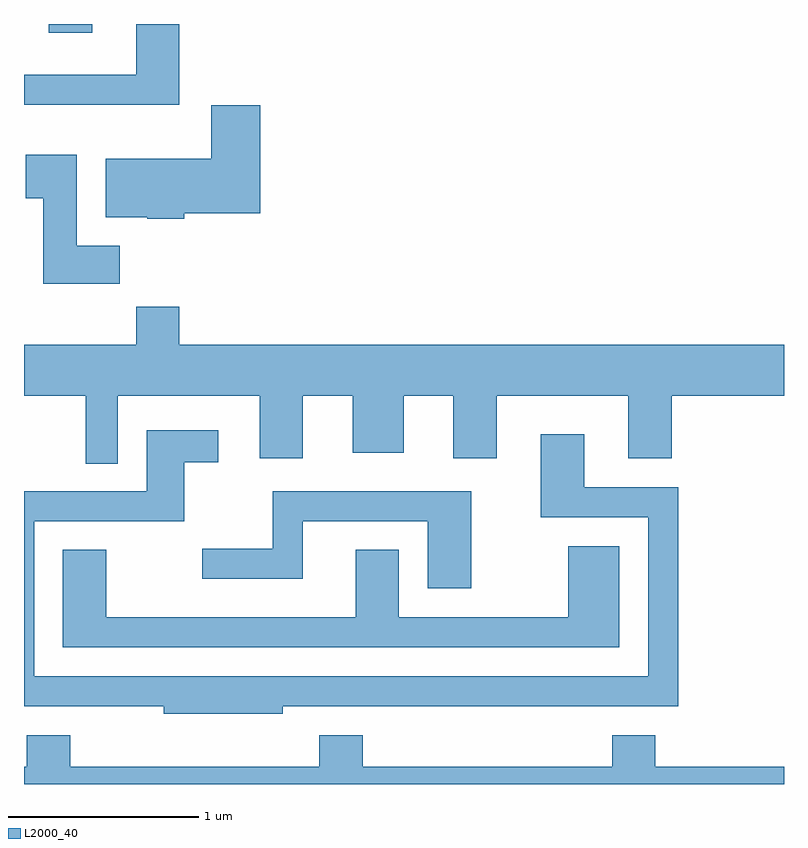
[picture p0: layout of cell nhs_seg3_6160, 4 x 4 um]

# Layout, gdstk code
import gdstk
lib = gdstk.Library(unit=1e-6, precision=1e-09)
def R(c, l, rs):  # rectangles x0, y0, x1, y1
    for r in rs: c.add(gdstk.rectangle(r[:2], r[2:], *l))
def P(c, l, *ps):  # polygons
    for p in ps: c.add(gdstk.Polygon(p, *l))
L2000_40 = (2000, 40)

nhs_seg3_6160 = lib.new_cell('nhs_seg3_6160')
R(nhs_seg3_6160, L2000_40, [(365.741,1207.846,365.969,1207.892)])
P(nhs_seg3_6160, L2000_40, [(366.429,1207.892),(366.201,1207.892),(366.201,1207.624),(365.611,1207.624),(365.611,1207.466),(366.429,1207.466)],
  [(366.454,1206.896),(366.854,1206.896),(366.854,1207.464),(366.596,1207.464),(366.596,1207.184),(366.041,1207.184),(366.041,1206.876),(366.26,1206.876),(366.26,1206.866),(366.454,1206.866)],
  [(366.114,1206.724),(365.889,1206.724),(365.889,1207.204),(365.621,1207.204),(365.621,1206.976),(365.711,1206.976),(365.711,1206.526),(366.114,1206.526)],
  [(366.429,1206.404),(366.201,1206.404),(366.201,1206.204),(365.611,1206.204),(365.611,1205.936),(365.936,1205.936),(365.936,1205.578),(366.104,1205.578),(366.104,1205.936),(366.851,1205.936),(366.851,1205.606),(367.079,1205.606),(367.079,1205.936),(367.341,1205.936),(367.341,1205.636),(367.609,1205.636),(367.609,1205.936),(367.871,1205.936),(367.871,1205.606),(368.099,1205.606),(368.099,1205.936),(368.791,1205.936),(368.791,1205.606),(369.019,1205.606),(369.019,1205.936),(369.611,1205.936),(369.611,1206.204),(366.429,1206.204)],
  [(366.974,1204.301),(369.054,1204.301),(369.054,1205.454),(368.559,1205.454),(368.559,1205.734),(368.331,1205.734),(368.331,1205.296),(368.896,1205.296),(368.896,1204.459),(365.664,1204.459),(365.664,1205.276),(366.454,1205.276),(366.454,1205.586),(366.633,1205.586),(366.633,1205.754),(366.256,1205.754),(366.256,1205.434),(365.611,1205.434),(365.611,1204.301),(366.346,1204.301),(366.346,1204.261),(366.974,1204.261)],
  [(367.964,1205.434),(366.921,1205.434),(366.921,1205.129),(366.548,1205.129),(366.548,1204.971),(367.079,1204.971),(367.079,1205.276),(367.736,1205.276),(367.736,1204.921),(367.964,1204.921)],
  [(368.744,1205.144),(368.476,1205.144),(368.476,1204.769),(367.584,1204.769),(367.584,1205.124),(367.356,1205.124),(367.356,1204.769),(366.044,1204.769),(366.044,1205.124),(365.816,1205.124),(365.816,1204.611),(368.744,1204.611)],
  [(369.611,1203.984),(368.934,1203.984),(368.934,1204.149),(368.706,1204.149),(368.706,1203.984),(367.394,1203.984),(367.394,1204.149),(367.166,1204.149),(367.166,1203.984),(365.854,1203.984),(365.854,1204.149),(365.626,1204.149),(365.626,1203.984),(365.611,1203.984),(365.611,1203.892),(369.611,1203.892)])

lib.write_gds('nhs_seg3_6160.gds')
